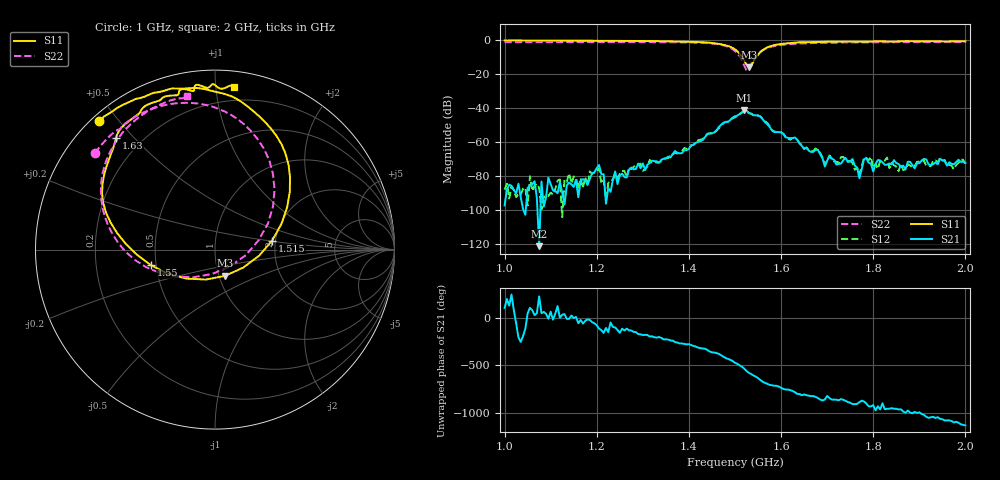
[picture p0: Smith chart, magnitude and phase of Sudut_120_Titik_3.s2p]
# Hz S RI R 50
! CMT, C1220, 16058040, 17.2.0/1
! Date: 14/08/2018 12:38:16
! Data: Format (Calibration Info)
! Freq  S11: Re/Im (F2)  S21: Re/Im (F2)  S12: Re/Im (F2)  S22: Re/Im (F2)
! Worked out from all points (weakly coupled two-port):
!   201 points, 1 GHz to 2 GHz, reference 50 ohm
!   highest |S21| = -41.55 dB at 1.52 GHz (marker M1); lowest = -121.5 dB at 1.075 GHz (marker M2)
!   lowest |S11| = -16.1 dB at 1.53 GHz (marker M3), VSWR 1.37, Z = 53.7 - j16 ohm
!   |S11| at or under -10 dB: 1.515 GHz to 1.547 GHz (31.12 MHz wide, 2.03 % of centre)
!   |S22| runs from -18.0 to -1.2 dB; largest |S21 - S12| = 0.0004
!   S11 on the Smith chart (normalised r, x): 1 GHz: 0.02, +0.44; 1.515 GHz: 1.92, +0.22; 1.55 GHz: 0.47, -0.09; 1.63 GHz: 0.11, +0.45; 2 GHz: 0.10, +1.12
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1e9  -0.6469 0.7144  -3.55e-06 1.29e-05  1.8e-05 -3.48e-05  -0.6704 0.5388
1.075e9  -0.5677 0.7723  -5.71e-07 -6.22e-07  -3.44e-05 -2.72e-05  -0.6273 0.5897
1.17e9  -0.4752 0.8235  3.97e-05 -6.85e-05  4.25e-05 -1.22e-05  -0.5588 0.6565
1.335e9  -0.2136 0.8968  -0.000224 8.68e-05  -0.000186 0.000165  -0.3746 0.7743
1.45e9  0.1865 0.7939  0.00177 -7.37e-05  0.00178 -0.000173  0.0182 0.7846
1.5e9  0.4169 0.3239  -0.00211 -0.00524  -0.00196 -0.00487  0.3318 0.335
1.515e9  0.3188 0.0505  -0.00648 -0.00324  -0.00644 -0.00348  0.2427 0.0517
1.52e9  0.2471 -0.0324  -0.00831 -0.000966  -0.0084 -0.00101  0.1722 -0.0304
1.53e9  0.0583 -0.1455  -0.00547 0.00432  -0.00551 0.00435  -0.0165 -0.136
1.55e9  -0.3574 -0.0867  0.000428 0.00593  0.000213 0.00595  -0.3829 -0.0983
1.63e9  -0.5509 0.6244  0.000617 -0.00119  0.000674 -0.00111  -0.6162 0.4632
1.67e9  -0.435 0.7486  -0.000115 -0.000495  -4.72e-05 -0.000537  -0.5646 0.5815
1.695e9  -0.4037 0.7879  -0.000141 -0.000123  -0.000153 -0.000154  -0.5321 0.6298
1.705e9  -0.3804 0.805  -0.000206 -0.000311  -0.000261 -0.000299  -0.5185 0.6473
1.755e9  -0.2775 0.8529  -0.000309 3.96e-05  -0.000222 8.6e-05  -0.4536 0.7132
1.77e9  -0.2345 0.8584  -8.23e-05 -1.91e-05  -0.000108 -2.24e-05  -0.4356 0.7282
1.78e9  -0.2113 0.8601  -0.000292 -0.000105  -0.00033 -9.56e-05  -0.423 0.7381
1.8e9  -0.1998 0.8825  -0.000127 4.13e-05  -0.000166 4.06e-05  -0.398 0.7555
1.81e9  -0.1893 0.8929  -0.000253 0.000143  -0.000152 5.27e-05  -0.3864 0.7639
1.83e9  -0.1397 0.8872  -0.000114 0.000178  5.28e-05 0.00034  -0.3626 0.778
1.835e9  -0.1284 0.8841  -0.000128 0.000193  -9.9e-05 0.000138  -0.3568 0.7817
2e9  0.1035 0.9068  0.000143 -0.000187  0.000171 -0.000153  -0.1572 0.854
